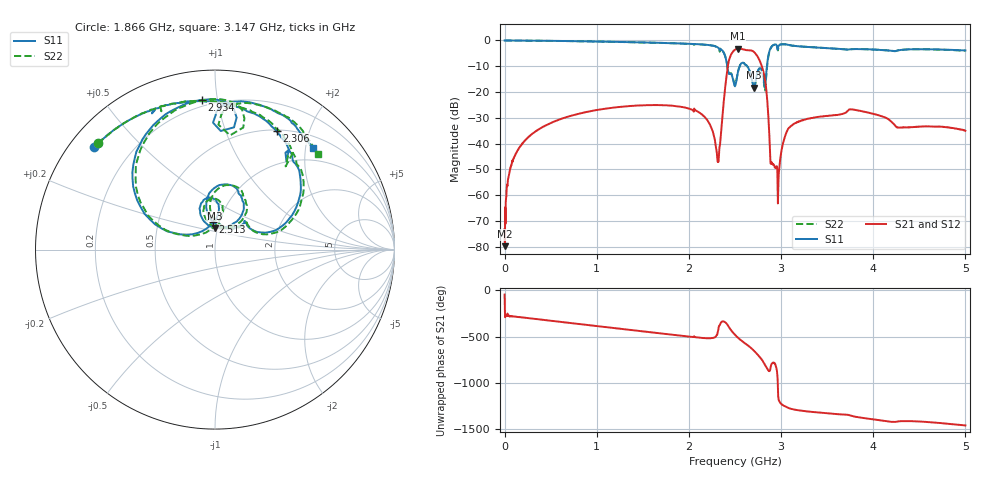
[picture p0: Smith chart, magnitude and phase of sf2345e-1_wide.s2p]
# Hz  S  RI  R  50
! ADVANTEST Corporation R3860A
! Date: Thu Oct 13 15:25:00 2016
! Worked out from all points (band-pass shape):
!   1601 points, 300 kHz to 5 GHz, reference 50 ohm
!   highest |S21| = -3.14 dB at 2.531 GHz (marker M1); lowest = -79.8 dB at 3.425 MHz (marker M2)
!   |S21| within 3 dB of the highest: 2.449 GHz to 2.744 GHz (294.9 MHz wide, 11.4 % of centre)
!   lowest |S11| = -18.4 dB at 2.71 GHz (marker M3), VSWR 1.27, Z = 48.5 + j11.9 ohm
!   |S11| at or under -10 dB: 2.416 GHz to 2.55 GHz (134 MHz wide, 5.39 % of centre); 2.633 GHz to 2.847 GHz (214.1 MHz wide, 7.82 % of centre)
!   |S22| runs from -19.4 to 0.0 dB; largest |S21 - S12| = 0.0024
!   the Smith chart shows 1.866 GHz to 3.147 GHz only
!   S11 on the Smith chart (normalised r, x): 1.866 GHz: 0.07, +0.36; 2.306 GHz: 0.51, +1.52; 2.513 GHz: 0.93, +0.30; 2.934 GHz: 0.16, +0.90; 3.147 GHz: 0.72, +2.14
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300000  1 0.00633  0.000153 -0.000157  0.000181 -0.00019  0.9986 0.000917
3424812  1.001 -0.00637  -7.57e-05 6.85e-05  -9.9e-05 9.26e-05  0.9996 -0.00633
5.967144e7  0.9911 -0.1215  0.000453 0.00307  0.000486 0.00308  0.9906 -0.1215
1.815391e8  0.929 -0.3597  0.00351 0.00866  0.00351 0.00865  0.9282 -0.3593
8.346249e8  -0.1161 -0.9566  0.0386 -0.00514  0.0387 -0.00516  -0.1212 -0.9567
1.66895e9  -0.8684 0.2394  -0.0127 -0.0543  -0.0125 -0.0545  -0.8601 0.2622
1.865813e9  -0.6722 0.5694  -0.0309 -0.0432  -0.0309 -0.0434  -0.6518 0.5914
2.17517e9  -0.0561 0.825  -0.0298 -0.0121  -0.0299 -0.012  -0.0196 0.8262
2.306412e9  0.3428 0.6614  -0.00298 -0.0047  -0.00298 -0.00469  0.373 0.6445
2.434529e9  0.1864 0.1253  0.3235 -0.2531  0.3236 -0.2529  0.1958 0.1203
2.50015e9  0.0355 0.1242  -0.3428 -0.5676  -0.3426 -0.5668  0.0472 0.1289
2.512649e9  -0.0134 0.1554  -0.4763 -0.4908  -0.4755 -0.4907  0.00377 0.1616
2.531398e9  -0.0492 0.2359  -0.6157 -0.3258  -0.6152 -0.3243  -0.0279 0.2418
2.637642e9  0.1566 0.2655  -0.3761 0.527  -0.3751 0.5261  0.1752 0.252
2.709512e9  -0.000289 0.1206  0.2734 0.5221  0.2736 0.5218  0.0163 0.1207
2.815756e9  -0.0114 0.1481  0.0833 -0.1998  0.0834 -0.1996  0.0104 0.1379
2.893876e9  -0.3853 0.6426  0.000549 -0.00433  0.000492 -0.00436  -0.3674 0.6452
2.934499e9  -0.0733 0.8342  0.00103 -0.00329  0.00103 -0.00334  -0.0466 0.8351
3.146986e9  0.5441 0.5668  -0.0211 0.0127  -0.021 0.0127  0.5728 0.5347
3.334475e9  0.6838 0.2823  -0.0178 0.0258  -0.0178 0.0259  0.7005 0.2436
4.1688e9  0.3151 -0.5553  0.0276 0.0102  0.0275 0.0102  0.2882 -0.57
5e9  -0.5401 -0.3444  0.0164 -0.00674  0.0164 -0.00672  -0.5523 -0.3074
